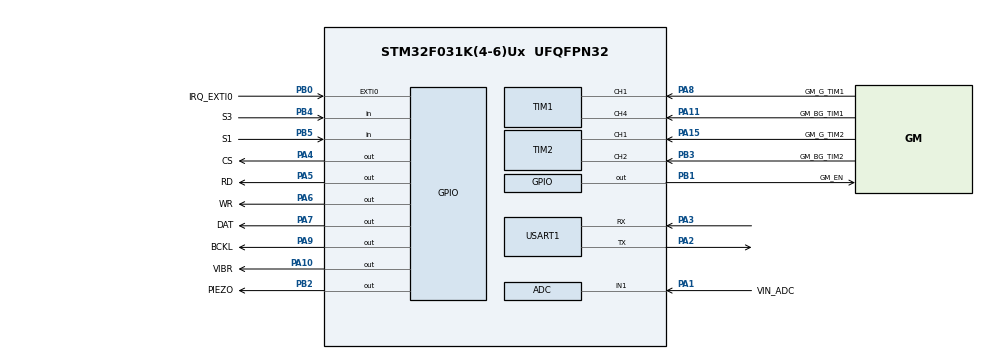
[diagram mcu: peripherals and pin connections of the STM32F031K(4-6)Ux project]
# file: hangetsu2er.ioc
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Mcu.Family=STM32F0
Mcu.Name=STM32F031K(4-6)Ux
Mcu.Package=UFQFPN32
PA0.Mode=SYS_WakeUp0
PA0.Signal=SYS_WKUP1
PA1.GPIO_Label=VIN_ADC
PA1.Mode=IN1
PA1.Signal=ADC_IN1
PA10.GPIO_Label=VIBR
PA10.Signal=GPIO_Output
PA11.GPIO_Label=GM_BG_TIM1
PA11.Signal=S_TIM1_CH4
PA13.Mode=Serial_Wire
PA13.Signal=SYS_SWDIO
PA14.Mode=Serial_Wire
PA14.Signal=SYS_SWCLK
PA15.GPIO_Label=GM_G_TIM2
PA15.Signal=S_TIM2_CH1_ETR
PA2.Mode=Asynchronous
PA2.Signal=USART1_TX
PA3.Mode=Asynchronous
PA3.Signal=USART1_RX
PA4.GPIO_Label=CS
PA4.Signal=GPIO_Output
PA5.GPIO_Label=RD
PA5.Signal=GPIO_Output
PA6.GPIO_Label=WR
PA6.Signal=GPIO_Output
PA7.GPIO_Label=DAT
PA7.Signal=GPIO_Output
PA8.GPIO_Label=GM_G_TIM1
PA8.Signal=S_TIM1_CH1
PA9.GPIO_Label=BCKL
PA9.Signal=GPIO_Output
PB0.GPIO_Label=IRQ_EXTI0
PB0.Signal=GPXTI0
PB1.GPIO_Label=GM_EN
PB1.Signal=GPIO_Output
PB2.GPIO_Label=PIEZO
PB2.Signal=GPIO_Output
PB3.GPIO_Label=GM_BG_TIM2
PB3.Signal=S_TIM2_CH2
PB4.GPIO_Label=S3
PB4.GPIO_PuPd=GPIO_PULLUP
PB4.Signal=GPIO_Input
PB5.GPIO_Label=S1
PB5.GPIO_PuPd=GPIO_PULLUP
PB5.Signal=GPIO_Input
ProjectManager.HeapSize=0x200
ProjectManager.StackSize=0x400
ProjectManager.TargetToolchain=STM32CubeIDE
SH.S_TIM1_CH1.0=TIM1_CH1,Input_Capture1_from_TI1
SH.S_TIM1_CH4.0=TIM1_CH4,Input_Capture4_from_TI4
SH.S_TIM2_CH1_ETR.0=TIM2_CH1,Input_Capture1_from_TI1
SH.S_TIM2_CH2.0=TIM2_CH2,Input_Capture2_from_TI2
TIM1.Channel-Input_Capture1_from_TI1=TIM_CHANNEL_1
TIM1.Channel-Input_Capture4_from_TI4=TIM_CHANNEL_4
TIM2.Channel-Input_Capture1_from_TI1=TIM_CHANNEL_1
TIM2.Channel-Input_Capture2_from_TI2=TIM_CHANNEL_2
USART1.VirtualMode-Asynchronous=VM_ASYNC
VP_TIM1_VS_ClockSourceINT.Mode=Internal
VP_TIM2_VS_ClockSourceINT.Mode=Internal
board=custom

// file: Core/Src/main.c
/* USER CODE BEGIN Header */
/**
  ******************************************************************************
  * @file           : main.c
  * @brief          : Main program body
  ******************************************************************************
  * @attention
  *
  * <h2><center>&copy; Copyright (c) 2025 STMicroelectronics.
  * All rights reserved.</center></h2>
  *
  * This software component is licensed by ST under BSD 3-Clause license,
  * the "License"; You may not use this file except in compliance with the
  * License. You may obtain a copy of the License at:
  *                        opensource.org/licenses/BSD-3-Clause
  *
  ******************************************************************************
  */
/* USER CODE END Header */

#include "main.h"
#include "display.h"

ADC_HandleTypeDef hadc;

TIM_HandleTypeDef htim1;
TIM_HandleTypeDef htim2;

UART_HandleTypeDef huart1;

/* USER CODE BEGIN PV */

HT1622_HandleTypeDef ht1622_1;

/* USER CODE END PV */

void SystemClock_Config(void);
static void MX_GPIO_Init(void);
static void MX_ADC_Init(void);
static void MX_TIM1_Init(void);
static void MX_TIM2_Init(void);
static void MX_USART1_UART_Init(void);

int main(void)
{

  /* MCU Configuration--------------------------------------------------------*/

  /* Reset of all peripherals, Initializes the Flash interface and the Systick. */
  HAL_Init();

  /* Configure the system clock */
  SystemClock_Config();

  /* Initialize all configured peripherals */
  MX_GPIO_Init();
  MX_ADC_Init();
  MX_TIM1_Init();
  MX_TIM2_Init();
  MX_USART1_UART_Init();
  /* USER CODE BEGIN 2 */
  HT1622_Init(&ht1622_1, DAT_GPIO_Port, DAT_Pin, WR_GPIO_Port, WR_Pin, RD_GPIO_Port, RD_Pin, CS_GPIO_Port, CS_Pin);
  HT1622_Config(&ht1622_1);
  HAL_Delay(2000);
  HT1622_FillBuff(0x0);
  HT1622_WriteAllData(&ht1622_1);

  /* USER CODE END 2 */

  /* Infinite loop */
  /* USER CODE BEGIN WHILE */
  uint8_t col = 1;
  uint8_t digit = 0;
  while (1)
  {
    /* USER CODE END WHILE */

    /* USER CODE BEGIN 3 */
	    if (HAL_GPIO_ReadPin(S3_GPIO_Port, S3_Pin) == GPIO_PIN_SET)
	    {
	      HAL_GPIO_WritePin(BCKL_GPIO_Port, BCKL_Pin, GPIO_PIN_RESET);
	    }
	    else
	    {
	      HAL_GPIO_WritePin(BCKL_GPIO_Port, BCKL_Pin, GPIO_PIN_SET);
	    }

	    Display_7Seg_Up(&ht1622_1, col, digit);
	    Display_7Seg_Middle(&ht1622_1, col, digit);
	    Display_7Seg_Bottom(&ht1622_1, col, digit);

	    if(digit < 10)
	    	digit++;
	    else {
	    	digit = 0;

	    	if(col < 4)
				col++;
			else
				col = 1;
	    }

	    HAL_Delay(200);
  }
  /* USER CODE END 3 */
}

void SystemClock_Config(void)
{
  RCC_OscInitTypeDef RCC_OscInitStruct = {0};
  RCC_ClkInitTypeDef RCC_ClkInitStruct = {0};
  RCC_PeriphCLKInitTypeDef PeriphClkInit = {0};

  /** Initializes the CPU, AHB and APB busses clocks
  */
  RCC_OscInitStruct.OscillatorType = RCC_OSCILLATORTYPE_HSI|RCC_OSCILLATORTYPE_HSI14;
  RCC_OscInitStruct.HSIState = RCC_HSI_ON;
  RCC_OscInitStruct.HSI14State = RCC_HSI14_ON;
  RCC_OscInitStruct.HSICalibrationValue = RCC_HSICALIBRATION_DEFAULT;
  RCC_OscInitStruct.HSI14CalibrationValue = 16;
  RCC_OscInitStruct.PLL.PLLState = RCC_PLL_NONE;
  if (HAL_RCC_OscConfig(&RCC_OscInitStruct) != HAL_OK)
  {
    Error_Handler();
  }
  /** Initializes the CPU, AHB and APB busses clocks
  */
  RCC_ClkInitStruct.ClockType = RCC_CLOCKTYPE_HCLK|RCC_CLOCKTYPE_SYSCLK
                              |RCC_CLOCKTYPE_PCLK1;
  RCC_ClkInitStruct.SYSCLKSource = RCC_SYSCLKSOURCE_HSI;
  RCC_ClkInitStruct.AHBCLKDivider = RCC_SYSCLK_DIV1;
  RCC_ClkInitStruct.APB1CLKDivider = RCC_HCLK_DIV1;

  if (HAL_RCC_ClockConfig(&RCC_ClkInitStruct, FLASH_LATENCY_0) != HAL_OK)
  {
    Error_Handler();
  }
  PeriphClkInit.PeriphClockSelection = RCC_PERIPHCLK_USART1;
  PeriphClkInit.Usart1ClockSelection = RCC_USART1CLKSOURCE_PCLK1;
  if (HAL_RCCEx_PeriphCLKConfig(&PeriphClkInit) != HAL_OK)
  {
    Error_Handler();
  }
}

static void MX_ADC_Init(void)
{

  ADC_ChannelConfTypeDef sConfig = {0};

  /** Configure the global features of the ADC (Clock, Resolution, Data Alignment and number of conversion)
  */
  hadc.Instance = ADC1;
  hadc.Init.ClockPrescaler = ADC_CLOCK_ASYNC_DIV1;
  hadc.Init.Resolution = ADC_RESOLUTION_12B;
  hadc.Init.DataAlign = ADC_DATAALIGN_RIGHT;
  hadc.Init.ScanConvMode = ADC_SCAN_DIRECTION_FORWARD;
  hadc.Init.EOCSelection = ADC_EOC_SINGLE_CONV;
  hadc.Init.LowPowerAutoWait = DISABLE;
  hadc.Init.LowPowerAutoPowerOff = DISABLE;
  hadc.Init.ContinuousConvMode = DISABLE;
  hadc.Init.DiscontinuousConvMode = DISABLE;
  hadc.Init.ExternalTrigConv = ADC_SOFTWARE_START;
  hadc.Init.ExternalTrigConvEdge = ADC_EXTERNALTRIGCONVEDGE_NONE;
  hadc.Init.DMAContinuousRequests = DISABLE;
  hadc.Init.Overrun = ADC_OVR_DATA_PRESERVED;
  if (HAL_ADC_Init(&hadc) != HAL_OK)
  {
    Error_Handler();
  }
  /** Configure for the selected ADC regular channel to be converted.
  */
  sConfig.Channel = ADC_CHANNEL_1;
  sConfig.Rank = ADC_RANK_CHANNEL_NUMBER;
  sConfig.SamplingTime = ADC_SAMPLETIME_1CYCLE_5;
  if (HAL_ADC_ConfigChannel(&hadc, &sConfig) != HAL_OK)
  {
    Error_Handler();
  }

}

static void MX_TIM1_Init(void)
{

  TIM_ClockConfigTypeDef sClockSourceConfig = {0};
  TIM_MasterConfigTypeDef sMasterConfig = {0};
  TIM_IC_InitTypeDef sConfigIC = {0};

  htim1.Instance = TIM1;
  htim1.Init.Prescaler = 0;
  htim1.Init.CounterMode = TIM_COUNTERMODE_UP;
  htim1.Init.Period = 0;
  htim1.Init.ClockDivision = TIM_CLOCKDIVISION_DIV1;
  htim1.Init.RepetitionCounter = 0;
  htim1.Init.AutoReloadPreload = TIM_AUTORELOAD_PRELOAD_DISABLE;
  if (HAL_TIM_Base_Init(&htim1) != HAL_OK)
  {
    Error_Handler();
  }
  sClockSourceConfig.ClockSource = TIM_CLOCKSOURCE_INTERNAL;
  if (HAL_TIM_ConfigClockSource(&htim1, &sClockSourceConfig) != HAL_OK)
  {
    Error_Handler();
  }
  if (HAL_TIM_IC_Init(&htim1) != HAL_OK)
  {
    Error_Handler();
  }
  sMasterConfig.MasterOutputTrigger = TIM_TRGO_RESET;
  sMasterConfig.MasterSlaveMode = TIM_MASTERSLAVEMODE_DISABLE;
  if (HAL_TIMEx_MasterConfigSynchronization(&htim1, &sMasterConfig) != HAL_OK)
  {
    Error_Handler();
  }
  sConfigIC.ICPolarity = TIM_INPUTCHANNELPOLARITY_RISING;
  sConfigIC.ICSelection = TIM_ICSELECTION_DIRECTTI;
  sConfigIC.ICPrescaler = TIM_ICPSC_DIV1;
  sConfigIC.ICFilter = 0;
  if (HAL_TIM_IC_ConfigChannel(&htim1, &sConfigIC, TIM_CHANNEL_1) != HAL_OK)
  {
    Error_Handler();
  }
  if (HAL_TIM_IC_ConfigChannel(&htim1, &sConfigIC, TIM_CHANNEL_4) != HAL_OK)
  {
    Error_Handler();
  }

}

static void MX_TIM2_Init(void)
{

  TIM_ClockConfigTypeDef sClockSourceConfig = {0};
  TIM_MasterConfigTypeDef sMasterConfig = {0};
  TIM_IC_InitTypeDef sConfigIC = {0};

  htim2.Instance = TIM2;
  htim2.Init.Prescaler = 0;
  htim2.Init.CounterMode = TIM_COUNTERMODE_UP;
  htim2.Init.Period = 0;
  htim2.Init.ClockDivision = TIM_CLOCKDIVISION_DIV1;
  htim2.Init.AutoReloadPreload = TIM_AUTORELOAD_PRELOAD_DISABLE;
  if (HAL_TIM_Base_Init(&htim2) != HAL_OK)
  {
    Error_Handler();
  }
  sClockSourceConfig.ClockSource = TIM_CLOCKSOURCE_INTERNAL;
  if (HAL_TIM_ConfigClockSource(&htim2, &sClockSourceConfig) != HAL_OK)
  {
    Error_Handler();
  }
  if (HAL_TIM_IC_Init(&htim2) != HAL_OK)
  {
    Error_Handler();
  }
  sMasterConfig.MasterOutputTrigger = TIM_TRGO_RESET;
  sMasterConfig.MasterSlaveMode = TIM_MASTERSLAVEMODE_DISABLE;
  if (HAL_TIMEx_MasterConfigSynchronization(&htim2, &sMasterConfig) != HAL_OK)
  {
    Error_Handler();
  }
  sConfigIC.ICPolarity = TIM_INPUTCHANNELPOLARITY_RISING;
  sConfigIC.ICSelection = TIM_ICSELECTION_DIRECTTI;
  sConfigIC.ICPrescaler = TIM_ICPSC_DIV1;
  sConfigIC.ICFilter = 0;
  if (HAL_TIM_IC_ConfigChannel(&htim2, &sConfigIC, TIM_CHANNEL_1) != HAL_OK)
  {
    Error_Handler();
  }
  if (HAL_TIM_IC_ConfigChannel(&htim2, &sConfigIC, TIM_CHANNEL_2) != HAL_OK)
  {
    Error_Handler();
  }

}

static void MX_USART1_UART_Init(void)
{

  huart1.Instance = USART1;
  huart1.Init.BaudRate = 38400;
  huart1.Init.WordLength = UART_WORDLENGTH_8B;
  huart1.Init.StopBits = UART_STOPBITS_1;
  huart1.Init.Parity = UART_PARITY_NONE;
  huart1.Init.Mode = UART_MODE_TX_RX;
  huart1.Init.HwFlowCtl = UART_HWCONTROL_NONE;
  huart1.Init.OverSampling = UART_OVERSAMPLING_16;
  huart1.Init.OneBitSampling = UART_ONE_BIT_SAMPLE_DISABLE;
  huart1.AdvancedInit.AdvFeatureInit = UART_ADVFEATURE_NO_INIT;
  if (HAL_UART_Init(&huart1) != HAL_OK)
  {
    Error_Handler();
  }

}

static void MX_GPIO_Init(void)
{
  GPIO_InitTypeDef GPIO_InitStruct = {0};

  /* GPIO Ports Clock Enable */
  __HAL_RCC_GPIOA_CLK_ENABLE();
  __HAL_RCC_GPIOB_CLK_ENABLE();

  /*Configure GPIO pin Output Level */
  HAL_GPIO_WritePin(GPIOA, CS_Pin|RD_Pin|WR_Pin|DAT_Pin
                          |BCKL_Pin|VIBR_Pin, GPIO_PIN_RESET);

  /*Configure GPIO pin Output Level */
  HAL_GPIO_WritePin(GPIOB, GM_EN_Pin|PIEZO_Pin, GPIO_PIN_RESET);

  /*Configure GPIO pins : CS_Pin RD_Pin WR_Pin DAT_Pin
                           BCKL_Pin VIBR_Pin */
  GPIO_InitStruct.Pin = CS_Pin|RD_Pin|WR_Pin|DAT_Pin
                          |BCKL_Pin|VIBR_Pin;
  GPIO_InitStruct.Mode = GPIO_MODE_OUTPUT_PP;
  GPIO_InitStruct.Pull = GPIO_NOPULL;
  GPIO_InitStruct.Speed = GPIO_SPEED_FREQ_LOW;
  HAL_GPIO_Init(GPIOA, &GPIO_InitStruct);

  /*Configure GPIO pin : IRQ_EXTI0_Pin */
  GPIO_InitStruct.Pin = IRQ_EXTI0_Pin;
  GPIO_InitStruct.Mode = GPIO_MODE_IT_RISING;
  GPIO_InitStruct.Pull = GPIO_NOPULL;
  HAL_GPIO_Init(IRQ_EXTI0_GPIO_Port, &GPIO_InitStruct);

  /*Configure GPIO pins : GM_EN_Pin PIEZO_Pin */
  GPIO_InitStruct.Pin = GM_EN_Pin|PIEZO_Pin;
  GPIO_InitStruct.Mode = GPIO_MODE_OUTPUT_PP;
  GPIO_InitStruct.Pull = GPIO_NOPULL;
  GPIO_InitStruct.Speed = GPIO_SPEED_FREQ_LOW;
  HAL_GPIO_Init(GPIOB, &GPIO_InitStruct);

  /*Configure GPIO pins : S3_Pin S1_Pin */
  GPIO_InitStruct.Pin = S3_Pin|S1_Pin;
  GPIO_InitStruct.Mode = GPIO_MODE_INPUT;
  GPIO_InitStruct.Pull = GPIO_PULLUP;
  HAL_GPIO_Init(GPIOB, &GPIO_InitStruct);

}

void Error_Handler(void)
{
}

/************************ (C) COPYRIGHT STMicroelectronics *****END OF FILE****/
